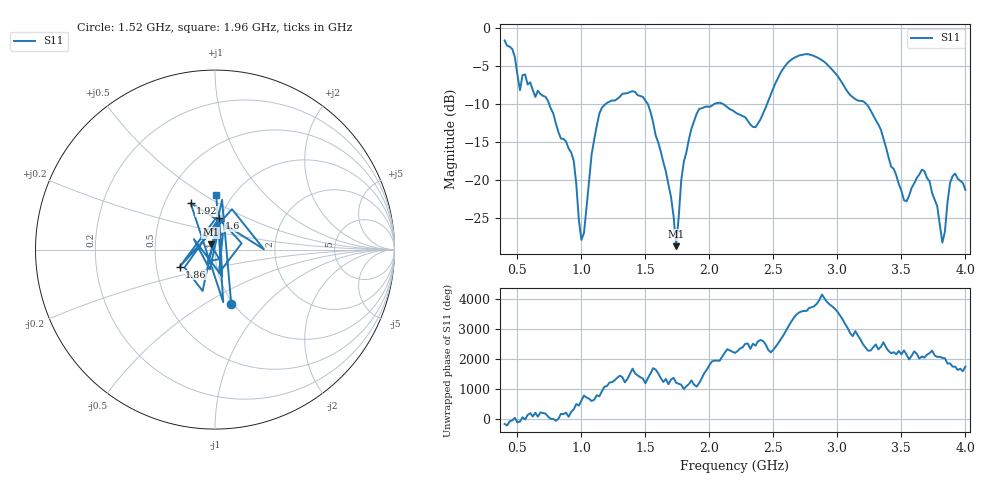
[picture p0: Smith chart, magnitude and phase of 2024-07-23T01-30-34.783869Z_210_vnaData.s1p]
!Created with skrf (http://scikit-rf.org).
# Hz S RI R 50.0
!freq ReS11 ImS11
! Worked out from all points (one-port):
!   181 points, 400 MHz to 4 GHz, reference 50 ohm
!   lowest |S11| = -28.7 dB at 1.74 GHz (marker M1), VSWR 1.08, Z = 47.7 + j2.73 ohm
!   |S11| at or under -10 dB: 748.2 MHz to 1.189 GHz (440.9 MHz wide, 45.5 % of centre); 1.519 GHz to 2.037 GHz (518.1 MHz wide, 29.1 % of centre); 3.226 GHz to end of sweep (the widest 3 of 4)
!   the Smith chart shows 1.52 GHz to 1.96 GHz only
!   S11 on the Smith chart (normalised r, x): 1.52 GHz: 0.98, -0.66; 1.6 GHz: 0.99, +0.36; 1.86 GHz: 0.66, -0.13; 1.92 GHz: 0.67, +0.38; 1.96 GHz: 0.84, +0.56
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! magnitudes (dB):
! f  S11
! 400 MHz  -1.6
! 520 MHz  -8.2
! 560 MHz  -6.1
! 720 MHz  -9.1
! 860 MHz  -14.6
! 940 MHz  -17.5
! 1 GHz  -27.8
! 1.14 GHz  -11.3
! 1.3 GHz  -9.1
! 1.52 GHz  -10.0
! 1.6 GHz  -15.0
! 1.7 GHz  -22.2
! 1.74 GHz  -28.7
! 1.76 GHz  -24.9
! 1.8 GHz  -17.6
! 1.86 GHz  -13.2
! 1.92 GHz  -10.6
! 1.96 GHz  -10.4
! 2.2 GHz  -11.1
! 2.36 GHz  -13.0
! 2.66 GHz  -3.9
! 3.1 GHz  -8.8
! 3.24 GHz  -10.3
! 3.56 GHz  -22.0
! 3.68 GHz  -18.8
! 3.82 GHz  -28.2
! 3.9 GHz  -19.5
! 4 GHz  -21.3
